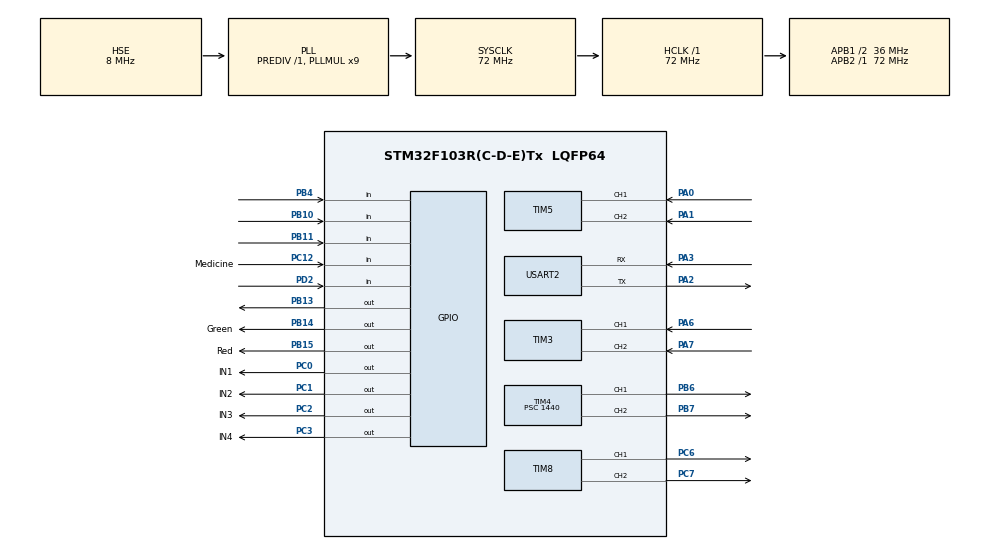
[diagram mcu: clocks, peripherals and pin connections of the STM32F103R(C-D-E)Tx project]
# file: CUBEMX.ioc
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Dma.Request0=USART2_TX
Dma.Request1=USART2_RX
Dma.USART2_RX.1.Direction=DMA_PERIPH_TO_MEMORY
Dma.USART2_RX.1.Instance=DMA1_Channel6
Dma.USART2_RX.1.MemDataAlignment=DMA_MDATAALIGN_BYTE
Dma.USART2_RX.1.MemInc=DMA_MINC_ENABLE
Dma.USART2_RX.1.Mode=DMA_NORMAL
Dma.USART2_RX.1.PeriphDataAlignment=DMA_PDATAALIGN_BYTE
Dma.USART2_RX.1.PeriphInc=DMA_PINC_DISABLE
Dma.USART2_RX.1.Priority=DMA_PRIORITY_LOW
Dma.USART2_TX.0.Direction=DMA_MEMORY_TO_PERIPH
Dma.USART2_TX.0.Instance=DMA1_Channel7
Dma.USART2_TX.0.MemDataAlignment=DMA_MDATAALIGN_BYTE
Dma.USART2_TX.0.MemInc=DMA_MINC_ENABLE
Dma.USART2_TX.0.Mode=DMA_NORMAL
Dma.USART2_TX.0.PeriphDataAlignment=DMA_PDATAALIGN_BYTE
Dma.USART2_TX.0.PeriphInc=DMA_PINC_DISABLE
Dma.USART2_TX.0.Priority=DMA_PRIORITY_LOW
Mcu.Family=STM32F1
Mcu.Name=STM32F103R(C-D-E)Tx
Mcu.Package=LQFP64
NVIC.DMA1_Channel6_IRQn=true\:0\:0\:false\:false\:true\:false\:true
NVIC.DMA1_Channel7_IRQn=true\:0\:0\:false\:false\:true\:false\:true
NVIC.PriorityGroup=NVIC_PRIORITYGROUP_4
NVIC.TIM6_IRQn=true\:0\:0\:false\:false\:true\:true\:true
NVIC.USART2_IRQn=true\:0\:0\:false\:false\:true\:true\:true
PA0-WKUP.Signal=S_TIM5_CH1
PA1.Signal=S_TIM5_CH2
PA13.Mode=Serial_Wire
PA13.Signal=SYS_JTMS-SWDIO
PA14.Mode=Serial_Wire
PA14.Signal=SYS_JTCK-SWCLK
PA2.Mode=Asynchronous
PA2.Signal=USART2_TX
PA3.Mode=Asynchronous
PA3.Signal=USART2_RX
PA6.Signal=S_TIM3_CH1
PA7.Signal=S_TIM3_CH2
PB10.Signal=GPIO_Input
PB11.Signal=GPIO_Input
PB13.Signal=GPIO_Output
PB14.GPIO_Label=Green
PB14.Signal=GPIO_Output
PB15.GPIO_Label=Red
PB15.Signal=GPIO_Output
PB4.Signal=GPIO_Input
PB6.Signal=S_TIM4_CH1
PB7.Signal=S_TIM4_CH2
PC0.GPIO_Label=IN1
PC0.GPIO_Speed=GPIO_SPEED_FREQ_HIGH
PC0.Signal=GPIO_Output
PC1.GPIO_Label=IN2
PC1.GPIO_Speed=GPIO_SPEED_FREQ_HIGH
PC1.Signal=GPIO_Output
PC12.GPIO_Label=Medicine
PC12.Signal=GPIO_Input
PC14-OSC32_IN.Mode=LSE-External-Oscillator
PC14-OSC32_IN.Signal=RCC_OSC32_IN
PC15-OSC32_OUT.Mode=LSE-External-Oscillator
PC15-OSC32_OUT.Signal=RCC_OSC32_OUT
PC2.GPIO_Label=IN3
PC2.GPIO_Speed=GPIO_SPEED_FREQ_HIGH
PC2.Signal=GPIO_Output
PC3.GPIO_Label=IN4
PC3.GPIO_Speed=GPIO_SPEED_FREQ_HIGH
PC3.Signal=GPIO_Output
PC6.Signal=S_TIM8_CH1
PC7.Signal=S_TIM8_CH2
PD0-OSC_IN.Mode=HSE-External-Oscillator
PD0-OSC_IN.Signal=RCC_OSC_IN
PD1-OSC_OUT.Mode=HSE-External-Oscillator
PD1-OSC_OUT.Signal=RCC_OSC_OUT
PD2.Signal=GPIO_Input
ProjectManager.HeapSize=0x200
ProjectManager.StackSize=0x400
ProjectManager.TargetToolchain=MDK-ARM V5.27
RCC.AHBFreq_Value=72000000
RCC.APB1CLKDivider=RCC_HCLK_DIV2
RCC.APB1Freq_Value=36000000
RCC.APB1TimFreq_Value=72000000
RCC.APB2Freq_Value=72000000
RCC.APB2TimFreq_Value=72000000
RCC.HCLKFreq_Value=72000000
RCC.PLLMUL=RCC_PLL_MUL9
RCC.PLLSourceVirtual=RCC_PLLSOURCE_HSE
RCC.SYSCLKFreq_VALUE=72000000
RCC.SYSCLKSource=RCC_SYSCLKSOURCE_PLLCLK
RCC.USBFreq_Value=72000000
SH.S_TIM3_CH1.0=TIM3_CH1,Encoder_Interface
SH.S_TIM3_CH2.0=TIM3_CH2,Encoder_Interface
SH.S_TIM4_CH1.0=TIM4_CH1,PWM Generation1 CH1
SH.S_TIM4_CH2.0=TIM4_CH2,PWM Generation2 CH2
SH.S_TIM5_CH1.0=TIM5_CH1,Encoder_Interface
SH.S_TIM5_CH2.0=TIM5_CH2,Encoder_Interface
SH.S_TIM8_CH1.0=TIM8_CH1,PWM Generation1 CH1
SH.S_TIM8_CH2.0=TIM8_CH2,PWM Generation2 CH2
TIM3.EncoderMode=TIM_ENCODERMODE_TI12
TIM4.Channel-PWM\ Generation1\ CH1=TIM_CHANNEL_1
TIM4.Channel-PWM\ Generation2\ CH2=TIM_CHANNEL_2
TIM4.Period=1000
TIM4.Prescaler=1440
TIM5.EncoderMode=TIM_ENCODERMODE_TI12
TIM6.Period=1000
TIM6.Prescaler=72
TIM8.Channel-PWM\ Generation1\ CH1=TIM_CHANNEL_1
TIM8.Channel-PWM\ Generation2\ CH2=TIM_CHANNEL_2
USART2.VirtualMode=VM_ASYNC
VP_TIM4_VS_ClockSourceINT.Mode=Internal
VP_TIM6_VS_ClockSourceINT.Mode=Enable_Timer
VP_TIM8_VS_ClockSourceINT.Mode=Internal
board=custom

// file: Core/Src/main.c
/* USER CODE BEGIN Header */
/**
  ******************************************************************************
  * @file           : main.c
  * @brief          : Main program body
  ******************************************************************************
  * @attention
  *
  * <h2><center>&copy; Copyright (c) 2021 STMicroelectronics.
  * All rights reserved.</center></h2>
  *
  * This software component is licensed by ST under BSD 3-Clause license,
  * the "License"; You may not use this file except in compliance with the
  * License. You may obtain a copy of the License at:
  *                        opensource.org/licenses/BSD-3-Clause
  *
  ******************************************************************************
  */
/* USER CODE END Header */
#include "main.h"
#include "dma.h"
#include "tim.h"
#include "usart.h"
#include "gpio.h"

/* USER CODE BEGIN Includes */
#include "control.h"
/* USER CODE END Includes */

/* USER CODE BEGIN PTD */
//系统运行时间计数，，开机后开始计数，每秒增1
unsigned short  g_RunTime = 0;
/* USER CODE END PTD */

/* USER CODE BEGIN PV */
void SecTask();
/* USER CODE END PV */

void SystemClock_Config(void);

int main(void)
{

  /* MCU Configuration--------------------------------------------------------*/

  /* Reset of all peripherals, Initializes the Flash interface and the Systick. */
  HAL_Init();

  /* Configure the system clock */
  SystemClock_Config();

  /* Initialize all configured peripherals */
  MX_GPIO_Init();
  MX_USART2_UART_Init();
  MX_TIM3_Init();
  MX_TIM4_Init();
  MX_TIM5_Init();
  MX_TIM8_Init();
  MX_DMA_Init();
  MX_TIM6_Init();
  /* USER CODE BEGIN 2 */

//  mystdioInit(&huart1);//printf初始化

  __HAL_UART_ENABLE_IT(&huart2,UART_IT_RXNE);	//使能串口接收中断

  HAL_TIM_PWM_Start(&htim8,TIM_CHANNEL_1); //一定要手动开启！！！！
  HAL_TIM_PWM_Start(&htim8,TIM_CHANNEL_2); //一定要手动开启！！！！
  HAL_TIM_PWM_Start(&htim8,TIM_CHANNEL_3); //打开TIM3的四个通道
  HAL_TIM_PWM_Start(&htim8,TIM_CHANNEL_4); //一定要手动开启！！！！

  HAL_TIM_PWM_Start(&htim4,TIM_CHANNEL_2);//打开舵机PWM通道
  HAL_TIM_PWM_Start(&htim4,TIM_CHANNEL_1);//打开相机PWM通道
  HAL_TIM_Encoder_Start(&htim3, TIM_CHANNEL_ALL);//开启TIM3的编码器接口模式
  HAL_TIM_Encoder_Start(&htim5, TIM_CHANNEL_ALL);//开启TIM5的编码器接口模式

  HAL_TIM_Base_Start_IT(&htim6);  // 开启定时器更新中断

  __HAL_TIM_SetCompare(&htim4, TIM_CHANNEL_2, 70);//输出小车角度值 回归平行\

    HAL_Delay(5000);
   // BaseOne();

  /* USER CODE END 2 */

  /* Infinite loop */
  /* USER CODE BEGIN WHILE */
  while (1)
  {
      __HAL_TIM_SetCompare(&htim4, TIM_CHANNEL_2, 45);//输出小车角度值
	  __HAL_TIM_SetCompare(&htim4, TIM_CHANNEL_1, 65);//输出小车角度值
      HAL_Delay(1000);
	  __HAL_TIM_SetCompare(&htim4, TIM_CHANNEL_2, 70);//输出小车角度值
	  __HAL_TIM_SetCompare(&htim4, TIM_CHANNEL_1, 70);//输出小车角度值
      HAL_Delay(1000);
      __HAL_TIM_SetCompare(&htim4, TIM_CHANNEL_2, 90);//输出小车角度值
	  __HAL_TIM_SetCompare(&htim4, TIM_CHANNEL_1, 75);//输出小车角度值
      HAL_Delay(1000);

//判断串口（摄像头检测到那个数字）&& 同时检测药物是否装上
//      if(1)
//      {
//
//          switch (1)                //输入数字进行选择
//          {
//              case 1:
//                  BaseOne();        //数字一
//              case 2:
//                  BaseTwo();        //数字二
//              case 3:
//                  BaseThree();      //数字三
//              case 4:
//                  BaseFour();       //数字四
//              case 5:
//                  BaseFive();       //数字五
//              case 6:
//                  BaseSix();        //数字六
//              case 7:
//                  BaseSeven();      //数字七
//              case 8:
//                  BaseEight();      //数字八
//          }
//      }

    /* USER CODE END WHILE */

  }
}

void SystemClock_Config(void)
{
  RCC_OscInitTypeDef RCC_OscInitStruct = {0};
  RCC_ClkInitTypeDef RCC_ClkInitStruct = {0};

  /** Initializes the RCC Oscillators according to the specified parameters
  * in the RCC_OscInitTypeDef structure.
  */
  RCC_OscInitStruct.OscillatorType = RCC_OSCILLATORTYPE_HSE;
  RCC_OscInitStruct.HSEState = RCC_HSE_ON;
  RCC_OscInitStruct.HSEPredivValue = RCC_HSE_PREDIV_DIV1;
  RCC_OscInitStruct.HSIState = RCC_HSI_ON;
  RCC_OscInitStruct.PLL.PLLState = RCC_PLL_ON;
  RCC_OscInitStruct.PLL.PLLSource = RCC_PLLSOURCE_HSE;
  RCC_OscInitStruct.PLL.PLLMUL = RCC_PLL_MUL9;
  if (HAL_RCC_OscConfig(&RCC_OscInitStruct) != HAL_OK)
  {
    Error_Handler();
  }
  /** Initializes the CPU, AHB and APB buses clocks
  */
  RCC_ClkInitStruct.ClockType = RCC_CLOCKTYPE_HCLK|RCC_CLOCKTYPE_SYSCLK
                              |RCC_CLOCKTYPE_PCLK1|RCC_CLOCKTYPE_PCLK2;
  RCC_ClkInitStruct.SYSCLKSource = RCC_SYSCLKSOURCE_PLLCLK;
  RCC_ClkInitStruct.AHBCLKDivider = RCC_SYSCLK_DIV1;
  RCC_ClkInitStruct.APB1CLKDivider = RCC_HCLK_DIV2;
  RCC_ClkInitStruct.APB2CLKDivider = RCC_HCLK_DIV1;

  if (HAL_RCC_ClockConfig(&RCC_ClkInitStruct, FLASH_LATENCY_2) != HAL_OK)
  {
    Error_Handler();
  }
}

void Error_Handler(void)
{
  __disable_irq();
  while (1)
  {
  }
}

/************************ (C) COPYRIGHT STMicroelectronics *****END OF FILE****/
